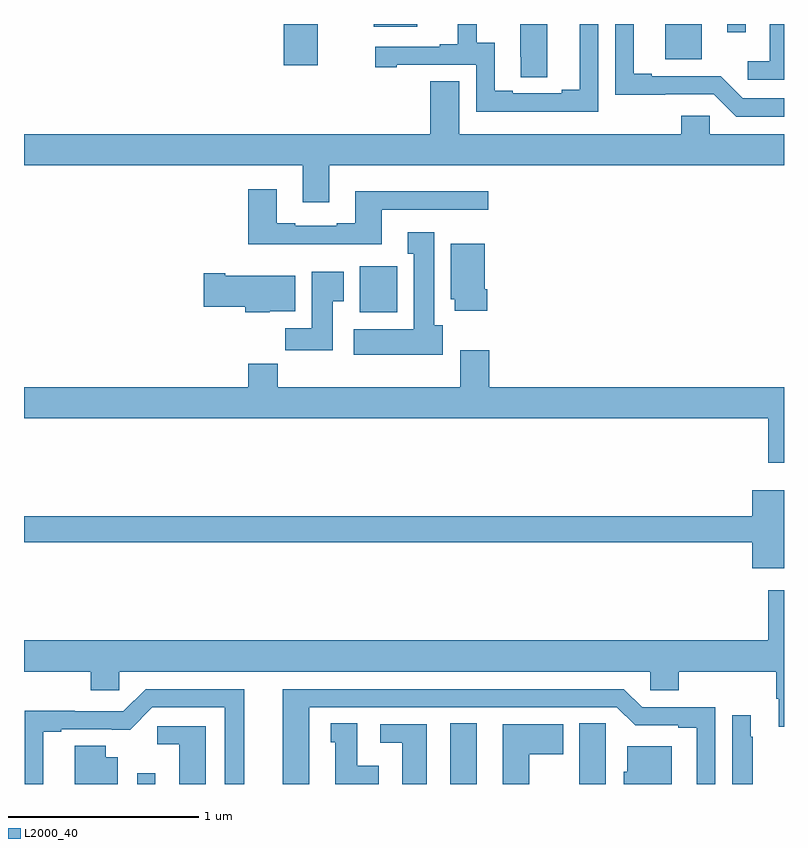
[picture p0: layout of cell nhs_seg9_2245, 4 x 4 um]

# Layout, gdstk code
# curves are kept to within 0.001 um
import gdstk
lib = gdstk.Library(unit=1e-6, precision=1e-09)
def R(c, l, rs):  # rectangles x0, y0, x1, y1
    for r in rs: c.add(gdstk.rectangle(r[:2], r[2:], *l))
def P(c, l, *ps):  # polygons
    for p in ps: c.add(gdstk.Polygon(p, *l))
L2000_40 = (2000, 40)

nhs_seg9_2245 = lib.new_cell('nhs_seg9_2245')
R(nhs_seg9_2245, L2000_40, [(239.595,1190.5,239.691,1190.557), (241.244,1190.5,241.384,1190.819), (240.767,1192.982,240.964,1193.224), (240.368,1194.282,240.546,1194.5), (242.375,1194.314,242.566,1194.5), (242.702,1194.456,242.799,1194.5), (240.842,1194.485,241.069,1194.5)])
P(nhs_seg9_2245, L2000_40, [(241.753,1194.5),(241.613,1194.5),(241.613,1194.328),(241.614,1194.328),(241.614,1194.22),(241.753,1194.22)],
  [(243,1194.5),(242.924,1194.5),(242.924,1194.304),(242.808,1194.304),(242.808,1194.207),(243,1194.207)],
  [(242.022,1194.5),(241.925,1194.5),(241.925,1194.155),(241.829,1194.155),(241.829,1194.135),(241.573,1194.135),(241.573,1194.15),(241.477,1194.15),(241.477,1194.401),(241.383,1194.401),(241.383,1194.5),(241.283,1194.5),(241.283,1194.394),(241.187,1194.394),(241.187,1194.381),(240.849,1194.381),(240.849,1194.273),(240.961,1194.273),(240.961,1194.285),(241.38,1194.285),(241.38,1194.039),(242.022,1194.039)],
  [(243,1194.108),(242.784,1194.108),(242.667,1194.225),(242.305,1194.225),(242.305,1194.238),(242.209,1194.238),(242.209,1194.5),(242.112,1194.5),(242.112,1194.128),(242.631,1194.129),(242.748,1194.012),(243,1194.012)],
  [(240.607,1193.756),(243,1193.756),(243,1193.92),(242.61,1193.92),(242.61,1194.018),(242.459,1194.018),(242.459,1193.92),(241.291,1193.92),(241.291,1194.2),(241.139,1194.2),(241.139,1193.92),(239,1193.92),(239,1193.756),(240.467,1193.756),(240.467,1193.562),(240.607,1193.562)],
  [(240.883,1193.523),(241.444,1193.523),(241.444,1193.62),(240.743,1193.62),(240.743,1193.452),(240.647,1193.452),(240.647,1193.439),(240.427,1193.439),(240.427,1193.452),(240.331,1193.452),(240.331,1193.629),(240.179,1193.629),(240.179,1193.342),(240.883,1193.342)],
  [(241.204,1192.914),(241.159,1192.914),(241.159,1193.404),(241.019,1193.404),(241.019,1193.291),(241.052,1193.291),(241.052,1192.894),(240.735,1192.894),(240.735,1192.76),(241.204,1192.76)],
  [(241.439,1193.104),(241.426,1193.104),(241.426,1193.344),(241.247,1193.344),(241.247,1193.052),(241.268,1193.052),(241.268,1192.992),(241.439,1192.992)],
  [(240.625,1193.041),(240.682,1193.041),(240.682,1193.197),(240.515,1193.197),(240.515,1192.9),(240.376,1192.9),(240.376,1192.782),(240.625,1192.782)],
  [(240.294,1192.988),(240.427,1192.988),(240.427,1193.176),(240.058,1193.176),(240.058,1193.189),(239.946,1193.189),(239.946,1193.011),(240.164,1193.011),(240.164,1192.982),(240.294,1192.982)],
  [(243,1192.588),(241.448,1192.588),(241.448,1192.783),(241.295,1192.783),(241.295,1192.588),(240.335,1192.588),(240.335,1192.712),(240.179,1192.712),(240.179,1192.588),(239,1192.588),(239,1192.424),(242.917,1192.424),(242.917,1192.191),(243,1192.191)],
  [(243,1192.045),(242.834,1192.045),(242.834,1191.908),(239,1191.908),(239,1191.772),(242.834,1191.772),(242.834,1191.635),(243,1191.635)],
  [(243,1191.52),(242.917,1191.52),(242.917,1191.256),(239,1191.256),(239,1191.092),(239.351,1191.092),(239.351,1190.994),(239.502,1190.994),(239.502,1191.092),(242.295,1191.092),(242.295,1190.994),(242.447,1190.994),(242.447,1191.092),(242.96,1191.092),(242.96,1190.95),(242.972,1190.95),(242.972,1190.802),(243,1190.802)],
  [(240.502,1190.904),(242.121,1190.904),(242.217,1190.808),(242.444,1190.808),(242.444,1190.796),(242.54,1190.796),(242.54,1190.5),(242.637,1190.5),(242.637,1190.904),(242.253,1190.904),(242.157,1191),(240.362,1191),(240.362,1190.5),(240.502,1190.5)],
  [(239.101,1190.775),(239.197,1190.775),(239.197,1190.787),(239.558,1190.786),(239.676,1190.904),(240.056,1190.904),(240.056,1190.5),(240.16,1190.5),(240.16,1191),(239.64,1191),(239.523,1190.883),(239.267,1190.883),(239.267,1190.885),(239.004,1190.885),(239.004,1190.5),(239.101,1190.5)],
  [(242.836,1190.75),(242.824,1190.75),(242.824,1190.863),(242.727,1190.863),(242.727,1190.5),(242.836,1190.5)],
  [(242.062,1190.708),(242.061,1190.708),(242.061,1190.819),(241.922,1190.819),(241.922,1190.5),(242.062,1190.5)],
  [(240.868,1190.596),(240.754,1190.596),(240.754,1190.819),(240.614,1190.819),(240.614,1190.721),(240.638,1190.721),(240.638,1190.5),(240.868,1190.5)],
  [(241.66,1190.656),(241.837,1190.656),(241.837,1190.815),(241.52,1190.815),(241.52,1190.5),(241.66,1190.5)],
  [(241.12,1190.814),(240.876,1190.814),(240.876,1190.718),(240.992,1190.718),(240.992,1190.5),(241.12,1190.5)],
  [(239.956,1190.805),(239.7,1190.805),(239.7,1190.708),(239.816,1190.708),(239.816,1190.5),(239.956,1190.5)],
  [(239.494,1190.641),(239.431,1190.641),(239.431,1190.702),(239.267,1190.702),(239.267,1190.5),(239.494,1190.5)],
  [(242.41,1190.698),(242.174,1190.698),(242.174,1190.565),(242.156,1190.565),(242.156,1190.5),(242.41,1190.5)])

lib.write_gds('nhs_seg9_2245.gds')
